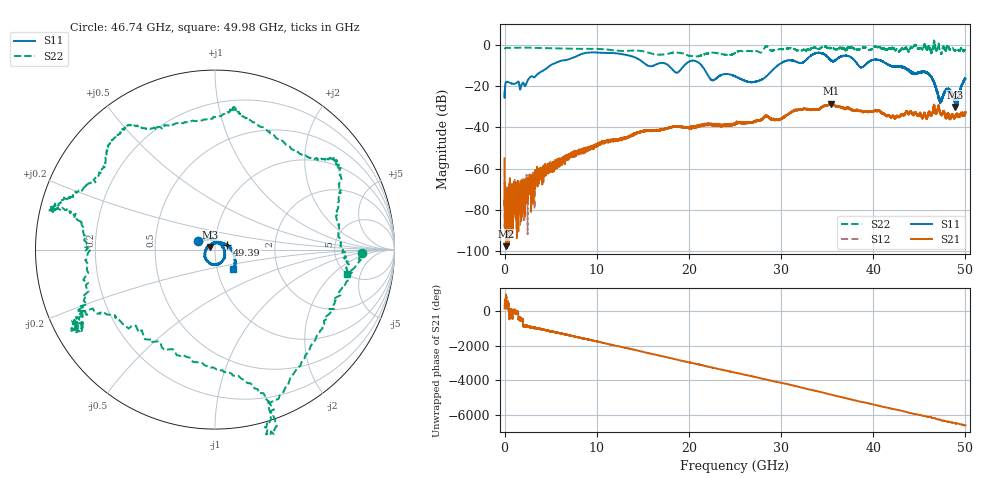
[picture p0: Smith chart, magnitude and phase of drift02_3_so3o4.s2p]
!Created with skrf (http://scikit-rf.org).
# Hz S RI R 50.0
!freq ReS11 ImS11 ReS21 ImS21 ReS12 ImS12 ReS22 ImS22
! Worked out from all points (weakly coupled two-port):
!   10001 points, 300 kHz to 50 GHz, reference 50 ohm
!   highest |S21| = -28.57 dB at 35.38 GHz (marker M1); lowest = -97.7 dB at 205.3 MHz (marker M2)
!   lowest |S11| = -30.1 dB at 48.9 GHz (marker M3), VSWR 1.06, Z = 47.3 + j1.45 ohm
!   |S11| at or under -10 dB: start of sweep to 4.958 GHz; 21.38 GHz to 29.63 GHz (8.258 GHz wide, 32.4 % of centre); 41.88 GHz to end of sweep (the widest 3 of 12)
!   |S22| runs from -5.7 to 2.1 dB; largest |S21 - S12| = 0.0033
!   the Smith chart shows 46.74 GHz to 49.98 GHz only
!   S11 on the Smith chart (normalised r, x): 46.74 GHz: 0.83, +0.08; 49.39 GHz: 1.14, +0.06; 49.98 GHz: 1.19, -0.27
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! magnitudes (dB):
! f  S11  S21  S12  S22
! 300 kHz  -22.5  -55.1  -60.5  -2.1
! 205.3 MHz  -17.9  -97.7  -77.6  -1.4
! 1.875 GHz  -19.1  -71.4  -70.7  -1.3
! 3.69 GHz  -13.8  -61.7  -62.9  -1.5
! 8.335 GHz  -4.5  -52.5  -51.9  -1.9
! 16.67 GHz  -9.1  -41.4  -41.5  -4.8
! 18.69 GHz  -13.5  -39.5  -39.5  -3.8
! 20.6 GHz  -7.7  -39.6  -39.9  -5.6
! 22.5 GHz  -17.2  -39.0  -38.7  -3.8
! 25 GHz  -15.3  -38.4  -38.6  -3.9
! 27.43 GHz  -17.6  -36.7  -36.8  -3.1
! 33.34 GHz  -4.9  -31.2  -31.2  -1.5
! 35.38 GHz  -7.4  -28.6  -28.8  -1.5
! 41.67 GHz  -9.7  -34.0  -34.2  -1.9
! 45.76 GHz  -13.4  -35.6  -35.6  -1.7
! 46.74 GHz  -19.8  -33.3  -32.4  -1.8
! 47.27 GHz  -27.2  -33.0  -32.8  -3.5
! 48.14 GHz  -21.2  -33.6  -33.4  -0.9
! 48.9 GHz  -30.1  -34.8  -34.8  -2.8
! 49.39 GHz  -22.9  -34.3  -34.0  -3.0
! 49.98 GHz  -16.5  -32.6  -33.2  -2.5
! 50 GHz  -16.5  -32.6  -32.9  -2.6
